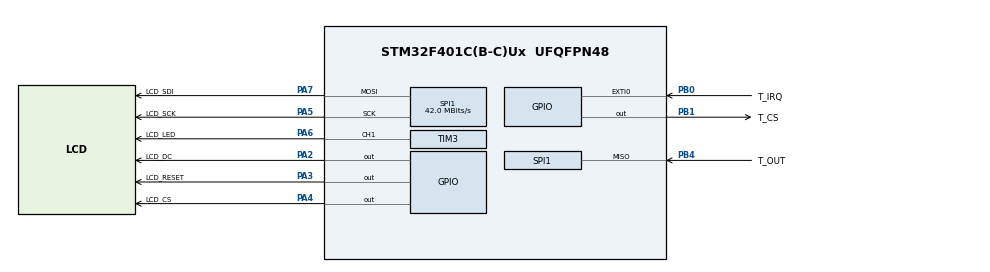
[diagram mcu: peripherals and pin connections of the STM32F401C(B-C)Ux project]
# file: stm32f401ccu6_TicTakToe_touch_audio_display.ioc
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Dma.Request0=SPI1_TX
Dma.SPI1_TX.0.Direction=DMA_MEMORY_TO_PERIPH
Dma.SPI1_TX.0.FIFOMode=DMA_FIFOMODE_DISABLE
Dma.SPI1_TX.0.Instance=DMA2_Stream3
Dma.SPI1_TX.0.MemDataAlignment=DMA_MDATAALIGN_HALFWORD
Dma.SPI1_TX.0.MemInc=DMA_MINC_ENABLE
Dma.SPI1_TX.0.Mode=DMA_NORMAL
Dma.SPI1_TX.0.PeriphDataAlignment=DMA_PDATAALIGN_HALFWORD
Dma.SPI1_TX.0.PeriphInc=DMA_PINC_DISABLE
Dma.SPI1_TX.0.Priority=DMA_PRIORITY_LOW
Mcu.Family=STM32F4
Mcu.Name=STM32F401C(B-C)Ux
Mcu.Package=UFQFPN48
NVIC.DMA2_Stream3_IRQn=true\:3\:0\:true\:false\:true\:false\:true\:true
NVIC.EXTI0_IRQn=true\:4\:0\:true\:false\:true\:true\:true\:true
NVIC.PriorityGroup=NVIC_PRIORITYGROUP_4
PA13.Mode=Serial_Wire
PA13.Signal=SYS_JTMS-SWDIO
PA14.Mode=Serial_Wire
PA14.Signal=SYS_JTCK-SWCLK
PA2.GPIO_Label=LCD_DC
PA2.GPIO_Speed=GPIO_SPEED_FREQ_HIGH
PA2.PinState=GPIO_PIN_SET
PA2.Signal=GPIO_Output
PA3.GPIO_Label=LCD_RESET
PA3.GPIO_Speed=GPIO_SPEED_FREQ_HIGH
PA3.PinState=GPIO_PIN_SET
PA3.Signal=GPIO_Output
PA4.GPIO_Label=LCD_CS
PA4.GPIO_PuPd=GPIO_PULLUP
PA4.GPIO_Speed=GPIO_SPEED_FREQ_HIGH
PA4.PinState=GPIO_PIN_SET
PA4.Signal=GPIO_Output
PA5.GPIO_Label=LCD_SCK
PA5.Mode=Full_Duplex_Master
PA5.Signal=SPI1_SCK
PA6.GPIO_Label=LCD_LED
PA6.Signal=S_TIM3_CH1
PA7.GPIO_Label=LCD_SDI
PA7.Mode=Full_Duplex_Master
PA7.Signal=SPI1_MOSI
PB0.GPIO_Label=T_IRQ
PB0.GPIO_ModeDefaultEXTI=GPIO_MODE_IT_FALLING
PB0.GPIO_PuPd=GPIO_PULLUP
PB0.Signal=GPXTI0
PB1.GPIO_Label=T_CS
PB1.GPIO_PuPd=GPIO_PULLUP
PB1.GPIO_Speed=GPIO_SPEED_FREQ_HIGH
PB1.PinState=GPIO_PIN_SET
PB1.Signal=GPIO_Output
PB4.GPIO_Label=T_OUT
PB4.Mode=Full_Duplex_Master
PB4.Signal=SPI1_MISO
PH0\ -\ OSC_IN.Mode=HSE-External-Oscillator
PH0\ -\ OSC_IN.Signal=RCC_OSC_IN
PH1\ -\ OSC_OUT.Mode=HSE-External-Oscillator
PH1\ -\ OSC_OUT.Signal=RCC_OSC_OUT
ProjectManager.HeapSize=0x200
ProjectManager.StackSize=0x400
ProjectManager.TargetToolchain=STM32CubeIDE
RCC.48MHZClocksFreq_Value=42000000
RCC.AHBFreq_Value=84000000
RCC.APB1CLKDivider=RCC_HCLK_DIV2
RCC.APB1Freq_Value=42000000
RCC.APB1TimFreq_Value=84000000
RCC.APB2Freq_Value=84000000
RCC.APB2TimFreq_Value=84000000
RCC.CortexFreq_Value=84000000
RCC.EnbaleCSS=true
RCC.HCLKFreq_Value=84000000
RCC.HSE_VALUE=25000000
RCC.HSI_VALUE=16000000
RCC.LSE_VALUE=32768
RCC.PLLM=25
RCC.PLLN=168
RCC.PLLSourceVirtual=RCC_PLLSOURCE_HSE
RCC.SYSCLKFreq_VALUE=84000000
RCC.SYSCLKSource=RCC_SYSCLKSOURCE_PLLCLK
RCC.VCOOutputFreq_Value=168000000
SH.S_TIM3_CH1.0=TIM3_CH1,PWM Generation1 CH1
SPI1.BaudRatePrescaler=SPI_BAUDRATEPRESCALER_2
SPI1.CLKPolarity=SPI_POLARITY_LOW
SPI1.CalculateBaudRate=42.0 MBits/s
SPI1.DataSize=SPI_DATASIZE_16BIT
SPI1.Direction=SPI_DIRECTION_2LINES
SPI1.Mode=SPI_MODE_MASTER
SPI1.VirtualType=VM_MASTER
TIM3.Channel-PWM\ Generation1\ CH1=TIM_CHANNEL_1
TIM3.Period=209
TIM3.Prescaler=999
TIM3.Pulse-PWM\ Generation1\ CH1=104
board=custom

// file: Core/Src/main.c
/* USER CODE BEGIN Header */
/*
 * Copyright (C) 2022, VadRov, all right reserved.
 *
 * Демонстрация работы с сенсорным экраном (тачскрином) на контроллере XPT2046 (HR2046 и т.п.),
 * дисплеем на базе контроллера ILI9341 (spi) 320х240, аудио ЦАПом PCM5102
 *
 * --------------------------------------- ДЕМО-ИГРА ------------------------------------------
 *	         		               для stm32f4 (stm32f401ccu6)
 * 		        				        Крестики-нолики
 *
 * С ИИ на основе алгоритма Минимакс (Minimax)
 *
 * С музыкой и звуковыми эффектами (программные декодеры mp3 и wav)
 *
 * Использованы фрагменты музыкальных произведений (на основе лицензии CC BY 3.0)
 * композитора Кевина Маклауда:
 * 					Constance,  (с)2011 Kevin MacLeod
 * 					Delay Rock, (с)2005 Kevin MacLeod
 *
 * https://www.youtube.com/@VadRov
 * https://dzen.ru/vadrov
 * https://vk.com/vadrov
 * https://t.me/vadrov_channel
 *---------------------------------------------------------------------------------------------*/
/* USER CODE END Header */
#include "main.h"

/* USER CODE BEGIN Includes */
#include <string.h>
#include <stdlib.h>
#include <xpt2046.h>  //Драйвер для сенсора на контроллере XPT2046 (HR2046 и т.п.)
#include "ili9341.h"  //Драйвер для дисплея на контроллере ILI9341
#include "pcm5102.h"  //Драйвер аудио ЦАПа pcm5102
#include "display.h"  //Библиотека управления дисплеями по spi
#include "player.h"   //Библиотека для воспроизведения wav и mp3 файлов, хранящихся во флеш памяти микроконтроллера
#include "mus_data.h" //Музыкальные данные игры (музыка и эффекты)
#include "calibrate_touch.h" //Модуль калибровки тачскрина

/* USER CODE END Includes */

/* USER CODE BEGIN PTD */
uint32_t millis = 0;	//Cчетчик миллисекунд
/* USER CODE END PTD */

void SystemClock_Config(void);
static void MX_GPIO_Init(void);
static void MX_DMA_Init(void);
static void MX_SPI1_Init(void);
static void MX_TIM3_Init(void);

/* USER CODE BEGIN 0 */

#define COMPUTER	1	//ID номер ИИ на поле
#define HUMAN		2	//ID номер человека на поле
#define MAXIMIZE	1	//Определение критерия максимизации
#define MINIMIZE	2	//определение критерия минимизации

/*
 * Сканирует игровое поле field размером field_size. Вызывается после хода игрока gamer.
 * В случае победы игрока gamer возвращает 1.
 * В случае ничьей (параметр gamer при этом, естественно, игнорируется) возвращает 2. (При этом
 * подразумевается, что проверка осуществляется сразу после хода игрока gamer, иначе есть шанс "прозевать" победу противника!)
 * Ничья, разумеется, означает, что свободных клеток нет.
 * В ином случае возвращает 0.
 * В переменных row и col возвращает номер строки, колонки либо диагонали, в которых
 * зафиксирован победный ряд:
 * row!=0, а col==0, то в row - номер горизонтального ряда (1...size);
 * row==0, а col!=0, то в col - номер вертикального ряда (1...size);
 * row==1 и col==1 - диагональный ряд, проходящий через левый верхний и правый нижний углы поля;
 * row==2 и col==2 - диагональный ряд, проходящий через левый нижний и правый верхний углы поля;
 * row==0 и col==0 - нет линии
 * В переменной sub_scores возвращает дополнительные очки за заполнение ряда игроком
 * (горизонтального/вертикального/диагонального) из расчета 1 балл за 1 клетку в формирующемся (сформированном) ряду.
 * (используется, в т.ч. при выборе хода в алгоритме Минимакс). При этом, если в ряду есть клетка противника,
 * то баллы не начисляются (0 очков).
 */
static uint8_t ScanField(uint8_t *field, uint8_t size, uint8_t gamer, uint8_t* row, uint8_t* col, uint8_t *sub_scores)
{
	*row = *col = 0;
	uint8_t i, j, flag, flag_d1 = 0, flag_d2 = 0, f = 0;
	int scores, cell_counter;
	int scores_d1 = 1, cell_d1_counter = size;
	int scores_d2 = 1, cell_d2_counter = size;
	*sub_scores = 0;
	//Поиск по строкам, столбцам и диагоналям
	for (i = 0; i < size; i++) {
		//Строки - горизонтальные ряды
		for (j = 0, flag = 0, scores = 1, cell_counter = size; j < size; j++) {
			if (field[i * size + j] != gamer) {
				flag = 1;
				if (!field[i * size + j]) {	cell_counter--;	}
				else { scores = 0; }
			}
		}
		scores *= cell_counter;
		*sub_scores = scores > *sub_scores ? scores : *sub_scores;
		if (!flag) { *row = i + 1; return 1; } //Есть горизонтальный ряд
		//Столбцы - вертикальные ряды
		for (j = 0, flag = 0, scores = 1, cell_counter = size; j < size; j++) {
			if (field[j * size + i] != gamer) {
				flag = 1;
				if (!field[j * size + i]) { cell_counter--; }
				else { scores = 0; }
			}
		}
		scores *= cell_counter;
		*sub_scores = scores > *sub_scores ? scores : *sub_scores;
		if (!flag) { *col = i + 1; return 1; } //Есть вертикальный ряд
		if (field[i * size + i] != gamer) { //Проверка диагонали 1
			flag_d1 = 1;
			if (!field[i * size + i]) { cell_d1_counter--; }
			else { scores_d1 = 0; }
		}
		if (field[(size - 1 - i) * size + i] != gamer) { //Проверка диагонали 2
			flag_d2 = 1;
			if (!field[(size - 1 - i) * size + i]) { cell_d2_counter--; }
			else { scores_d2 = 0; }
		}
		for (j = 0; j < size; j++) { //Проверка на ничью (наличие свободных клеток)
			if (!field[i * size + j]) f = 1;
		}
	}
	scores_d1 *= cell_d1_counter;
	scores_d2 *= cell_d2_counter;
	*sub_scores = scores_d1 > *sub_scores ? scores_d1 : *sub_scores; //Переопределение
	*sub_scores = scores_d2 > *sub_scores ? scores_d2 : *sub_scores; //максимума
	if (!flag_d1) { *col = 1; *row = 1; return 1; } //Есть диагональный ряд 1
	if (!flag_d2) { *col = 2; *row = 2; return 1; } //Есть диагональный ряд 2
	//Ничья (при условии, что проверка осуществляется после хода игрока gamer!)
	if (!f) return 2;
	return 0;
}

/*
 * Градиент (переход цвета)
 */
static uint32_t GradientColor(uint32_t color1, uint32_t color2, uint8_t a)
{
	//Получаем составляющие (r, g, b) цвета color1
	uint8_t r_col1 = (color1 >> 16) & 0xff;
	uint8_t g_col1 = (color1 >> 8) & 0xff;
	uint8_t b_col1 = color1 & 0xff;

	//Получаем составляющие (r, g, b) цвета color2
	uint8_t r_col2 = (color2 >>16) & 0xff;
	uint8_t g_col2 = (color2 >> 8) & 0xff;
	uint8_t b_col2 = color2 & 0xff;

	//"Смешиваем" составляющие (r, g, b) цветов color1 и color2
	r_col1 -= (a * (r_col1 - r_col2)) / 255;
	g_col1 -= (a * (g_col1 - g_col2)) / 255;
	b_col1 -= (a * (b_col1 - b_col2)) / 255;

	//"Собираем" составляющие
	return (((uint32_t)r_col1) << 16) | (((uint32_t)g_col1) << 8) | ((uint32_t)b_col1);
}

/*
 * Вывод масштабированного символа sym в рамке в позиции (x, y), цветом txcolor, цветом окружения bgcolor, цветом рамки brdcolor
 * p1 и p2 - параметры, определяющие габариты символа (ширина = высоте) в виде дроби (для целочисленных вычислений).
 * Например, ширина экрана 240 пикселей, а нам надо вывести символ шириной 60 пикселей, значит: p1 = 240, а p2 = 4
 * Если взглянуть на определение pixel_size и дальнейшее его использование, то станет понятно,
 * почему ширина символа задается дробью.
 */
static void DrawSym(LCD_Handler *lcd, char sym, uint16_t x, uint16_t y, uint32_t txcolor, uint32_t bgcolor, uint32_t brdcolor, int p1, int p2)
{
	#define pixel_size 	p1 / (p2 * f_h)
	uint32_t color, tmp = 0;
	FontDef *font = &Font_12x20; //Шрифт, из которого будем формировать масштабированный символ
	const uint8_t *b = font->data;
	int i, j, k, f_h = font->height;
	int bytes_per_line = ((font->width-1) >> 3) + 1; //Количество байт данных, приходящихся на горизонтальную линию шрифта
	if (bytes_per_line > 4) { //Поддержка ширины символов до 32 пикселей (4 байта на строку)
		return;
	}
	k = 1 << ((bytes_per_line << 3) - 1); //Битовая маска для побитного сканирования горизонтальной линии шрифта
	k <<= (font->height - font->width) / 2; //Выравниваем битовую маску с учетом разницы высоты и ширины шрифта, приводя символ к "квадратному"
	if (!sym) sym = ' ';	//Если ID равен 0, то символ = пробелу (код 32)
	else if (sym == COMPUTER) sym = 'X'; //Если ID компьютера, то символ 'Х'
	else if (sym == HUMAN)    sym = 'O'; //Если ID человека, то символ 'O'
	sym = sym < font->firstcode || sym > font->lastcode ? 0: sym - font->firstcode; //Вычисляем
	b +=  sym * bytes_per_line * f_h;		//начальный адрес символа в блоке данных
	for (i = 0; i < f_h; i++) {	//Цикл по высоте шрифта
		if (bytes_per_line == 1) { tmp = *((uint8_t*)b); }     //Считываем данные строки шрифта
		else if (bytes_per_line == 2) { tmp = *((uint16_t*)b); }
		else if (bytes_per_line == 3) { tmp = (*((uint8_t*)b)) | ((*((uint8_t*)(b + 1))) << 8) |  ((*((uint8_t*)(b + 2))) << 16); }
		else { tmp = *((uint32_t*)b); }
		b += bytes_per_line; //Раccчитываем адрес следующей строки символа
		for (j = 0; j < f_h; j++) { //Цикл по ширине символа (символ "квадратный", т.к. уравниваем его высоту и ширину)
			if (!j || j == (f_h - 1) || !i || i == (f_h - 1)) { //Рамку вокруг символа рисуем для 1 и последней
																//его строки, а также для первой и последней
																//его колонки. Цвет пикселя - brdcolor с градиентным переходом
				color = GradientColor(brdcolor, COLOR_WHITE, 255 * (i * f_h + j) / (f_h * f_h));
			}
			else { //символ на заданном фоне
				color = (tmp << j) & k ? txcolor: bgcolor;	//Если текущий бит данных горизонтальной строки шрифта установлен,
															//то цвет пикселя txcolor, в противном случае цвет bgcolor
			}
			LCD_FillWindow(	lcd,  							//Отрисовываем масштабированный "пиксель"
							x + j * pixel_size,
							y + i * pixel_size,
							x + (j + 1) * pixel_size - 1,
							y + (i + 1) * pixel_size - 1,
							color);
		}
	}
}

/*
 * Вывод на дисплей lcd игрового поля field размером field_size
 */
static void ShowGameField(LCD_Handler *lcd, uint8_t *field, uint8_t field_size)
{
	uint32_t txcolor_x = COLOR_RED; 	//Цвет "крестиков"
	uint32_t txcolor_0 = COLOR_WHITE; 	//Цвет "ноликов"
	uint32_t bgcolor = COLOR_BLUE; 		//Цвет фона клетки
	uint32_t brdcolor = COLOR_YELLOW; 	//Цвет рамки вокруг клетки
	uint32_t txcolor_text = COLOR_WHITE;//Цвет текста (если печатаем символы вместо "крестиков" и "ноликов", для заставки)
	uint32_t txcolor = 0;
	uint16_t x0, y0; //Координаты левого верхнего угла клетки на дисплее
	//Габариты поля берем по ширине либо высоте экрана, в зависимости от того, что меньше
	int size = lcd->Height > lcd->Width ? lcd->Width: lcd->Height;
	int i, j;
	uint8_t sym;
	for (i = 0; i < field_size; i++) { 		//Цикл по количеству рядов клеток
		y0 = i * size/field_size;			//Координата Y верхнего левого угла клетки на дисплее
		for (j = 0; j < field_size; j++)  {	//Цикл по количеству столбцов клеток
			x0 = j * size/field_size;		//Координата X верхнего левого угла клетки на дисплее
			sym = field[i * field_size + j]; //ID - содержимое клетки
			if (sym == COMPUTER)   { txcolor = txcolor_x; } //Если ID компьютера, то символ 'Х'
			else if (sym == HUMAN) { txcolor = txcolor_0; } //Если ID человека, то символ 'O'
			else { txcolor = txcolor_text; } //Иначе, имеем дело с текстом и код символа не меняем
			DrawSym(lcd, sym, x0, y0, txcolor, bgcolor, brdcolor, size, field_size); //Выводим символ на дисплей
		}
	}
}

/* Cтруктура, описывающая ход и его результативность */
typedef struct {
	uint8_t i, j;			//Индексы клетки на игровом поле куда сделан шаг
	int score;				//Очки шага (результативность хода)
	uint8_t sub_score;		//Дополнительные очки шага (учитываются в случае равенства очков за основные шаги)
} GAME_STEP;

/*
 * Игровая логика. Выбор хода ИИ
 * Возвращает очки выбранного хода. В переменных row и col - позицию (строка, столбец) выбранного хода.
 * На входе: игровое поле field и его размер field_size, ID игрока gamer, критерий алгоритма Минимакс maxmin,
 * указатели на переменные row и col, в которых возвратятся индексы выбранной для хода клетки,
 * а также текущая глубина рекурсии depth
 */
static int GameLogic(uint8_t *field, uint8_t field_size, uint8_t gamer, uint8_t maxmin, uint8_t *row, uint8_t *col, uint8_t depth)
{
	if (!depth) return 0; //Если достигнут предел глубины рекурсии, то выходим, возвратив 0 очков за ход
	int score, sub_score;
	uint8_t row1, col1, i, j, res, k = 0;
	for (int m = 0; m < field_size * field_size; m++) {
		if (!field[m]) k++;
	}
	if (!k) { 					  //Нет свободных ячеек: некуда ходить -> ничья
		*row = *col = field_size; //Возвращаем заведомо некорректные индексы клетки для хода
		return 0;
	}
	GAME_STEP logic_mas[k]; //Массив игровых ходов для текущего игрового поля
	//Для каждой свободной клетки игрового поля создадим игровую ситуацию GAME_STEP, которая будет содержать
	//параметры хода (индексы клетки) игрока gamer, основные и дополнительные очки за ход (результативность хода).
	for (i = 0, k = 0; i < field_size; i++)	{ //цикл по количеству строк в игровом поле
		for (j = 0; j < field_size; j++) {	  //Цикл по количеству столбцов в игровом поле
			if (!field[i * field_size + j]) { //Если клетка в позиции [i, j] игрового поля свободна:
				field[i * field_size + j] = gamer;		//делаем ход (записываем переменную gamer) в клетку
				logic_mas[k].i = i;						//и запоминаем номера строки
				logic_mas[k].j = j;						//и столбца хода
				logic_mas[k].score = logic_mas[k].sub_score = 0; //Инициализируем очки хода
				row1 = col1 = 0;
				//Сканируем игровое поле k-той игровой ситуации, оценивая результативность предполагаемого хода
				res = ScanField(field, field_size, gamer, &row1, &col1, &logic_mas[k].sub_score);
				if (res) {				//Шаг привел к победе или ничьей?
					if (res == 1) {   	//Победа
						logic_mas[k].score = (maxmin == MAXIMIZE) ? 1 : -1; //очки за победу
					}
					else {				//Ничья
						logic_mas[k].score = (maxmin == MAXIMIZE) ? 0 : 0;	//очки за ничью
					}
				}
				else { //Если ход не привел ни к победе, ни к ничьей, то анализируем все возможные ответные ходы противника
					   //на ход игрока gamer. Осуществим, т.н., рекурсивный вызов функции по отношению к противнику.
					   //Проанализируем все возможные ответные ходы противника на наш ход, но критерий алгоритма Минимакс
					   //изменяем на противоположный, а саму функцию вызываем для противника gamer.
					logic_mas[k].score = GameLogic(field, field_size, (gamer == HUMAN)? COMPUTER: HUMAN, (maxmin == MAXIMIZE)? MINIMIZE : MAXIMIZE, row, col, depth - 1);
				}
				field[i * field_size + j] = 0; //Восстанавливаем игровое поле в состояние "до хода"
				k++; //Увеличиваем счетчик шагов
			}
		}
	}
	//Сравниваем очки итогов игровых ситуаций с учетом критерия maxmin.
	//Выбираем из всех ходов оптимальный с позиций оценки.
	i = j = 0; //Инициализация индекса игрового хода
	score = logic_mas[0].score; //Инициализация экстремума (min/max) очков за ход
	sub_score = logic_mas[0].sub_score; //Инициализация max дополнительных очков за ход
	while (k--) {
		if (maxmin == MAXIMIZE) { //Критерий алгоритма Минимакс - > максимизация шансов на победу игрока
			if (score <= logic_mas[i].score) {//Максимум меньше или равен очкам текущего хода?
				if (score < logic_mas[i].score) { score = logic_mas[i].score; j = i; } //Если меньше, то переназначаем максимум и запоминаем ход
				else { //Если равен, то сравниваем дополнительные очки хода и выбираем тот ход, у которого дополнительные очки больше
					if (sub_score < logic_mas[i].sub_score) { sub_score = logic_mas[i].sub_score; j = i; }
				}
			}
		}
		else { //Критерий алгоритма Минимакс -> минимизация шансов победы противника
			if (score >= logic_mas[i].score) {//Текущий минимум больше или равен?
				if (score > logic_mas[i].score) { score = logic_mas[i].score; j = i; } //Если меньше, то переназначаем минимум и запоминаем ход
				else { //Если равен, то сравниваем дополнительные очки хода и выбираем тот ход, у которого дополнительные очки больше
					if (sub_score < logic_mas[i].sub_score) { sub_score = logic_mas[i].sub_score; j = i; }
				}
			}
		}
		i++;	//Переходим к следующему игровому шагу
	}	//Индексы клетки для лучшего хода с учетом результативности:
	*row = logic_mas[j].i;	//строка
	*col = logic_mas[j].j;	//столбец
	return score; 			//Возвращаем очки хода
}

/*
 * Выводит победный ряд игрового поля field размером field_size на дисплей lcd
 * i_start, j_start - индексы стартовой клетки победного ряда
 * i_step, j_step - приращения индексов для каждого последующего шага из field_size шагов (длина ряда всегда = field_size)
 */
static void DrawVictoryLine(LCD_Handler *lcd, uint8_t *field, uint8_t field_size, int i_start, int j_start, int i_step, int j_step)
{
	uint32_t txcolor = 0x1E90FF; //Цвет символов X и O
	uint32_t bgcolor = 0xFF1493; //Цвет фона
	uint32_t brdcolor = 0xCD853F;//Цвет рамки вокруг символов
	int x, y;
	char sym;
	int size = lcd->Height > lcd->Width ? lcd->Width: lcd->Height; //Ширина поля вывода в пикселях
	for (int i = 0; i < field_size; i++) { //Цикл по длине ряда
		x = j_start * size/field_size; //Преобразование индексов поля
		y = i_start * size/field_size; //в координаты дисплея
		sym = field[i_start * field_size + j_start];
		DrawSym(lcd, sym, x, y, txcolor, bgcolor, brdcolor, size, field_size); //Вывод символа на игровое поле
		i_start += i_step; //Расчет индексов следующей клетки победного ряда
		j_start += j_step; //с учетом приращения индексов для шага
	}
}

/*
 * Ищет вариант для случайного хода. В row и col возвращает индексы клетки игрового поля для хода
 * Если свободных клеток нет, то возвращает в row и col значение field_size - размер поля,
 * т.е. недопустимые индексы для хода
 */
static void RandMove(uint8_t *field, uint8_t field_size, uint8_t *row, uint8_t *col)
{
	int i, j;
	//Проверка возможности хода
	for (i = 0, j = 0; i < field_size * field_size; i++) { //Перебираем клетки поля
		if (!field[i]) { j = 1; break; } //Свободная клетка? Да, выставляем флаг и выходим из цикла
	}
	if (j == 0) { //Некуда ходить ?
		*row = *col = field_size; //Ходить некуда. Устанавливаем недопустимые индексы клетки и выходим
		return;
	}
	while (1) { //Крутим цикл до тех пор, пока не найдем вариант для хода:
		*row = (uint8_t)rand();
		*col = (uint8_t)rand();
		if (*row < field_size && *col < field_size) { //Индексы row и col должны быть в пределах размеров поля,
			if (!field[*row * field_size + *col]) return; //а клетка должна быть свободной
		}
	}
}

/*
 * "Растворяет" изображение на дисплее lcd
 * var - определяет вариант "растворения":
 * 0 - "растворяет" изображение "попиксельно" в случайном порядке пикселей;
 * !=0 - на первом шаге изображение стирается через строку, а на втором шаге через столбец.
 * color - "растворяющий" цвет
 */
static void ScreenDissolve(LCD_Handler *lcd, uint8_t var, uint32_t color)
{
	uint16_t x, y;
	if (!var) { //Первый вариант - попиксельно в случайном порядке
		for (int i = 0; i < lcd->Width * lcd->Height; i++ ) { //Цикл по количеству пикселей на дисплее
			x = lcd->Width;
			y = lcd->Height;
			while (x >= lcd->Width) { //Получаем случайную координату x
				x = lcd->Width * ((uint16_t)rand()) / 65535;
			}
			while (y >= lcd->Height) { //Получаем случайную координату y
				y = lcd->Height * ((uint16_t)rand()) / 65535;
			}
			LCD_FillWindow(lcd, x, y, x + 1, y + 1, color); //Рисуем "увеличенный" (2x2) пиксель заданным стирающим цветом color
		}
	}
	else { //Второй вариант - по линиям через строку и через столбец
		for (y = 0; y < lcd->Height; y += 2) { //Цикл по числу строк, с шагом через строку
			LCD_DrawLine(lcd, 0, y, lcd->Width - 1, y, color); //Рисуем горизонтальную линию
			LL_mDelay(1);	//Задержка в 1 мс
		}
		for (x = 0; x < lcd->Width; x += 2) { //Цикл по числу столбцов, с шагом через столбец
			LCD_DrawLine(lcd, x, 0, x, lcd->Height - 1, color); //Рисуем вертикальную линию
			LL_mDelay(1); //Задержка в 1 мс
		}
	}
	LCD_Fill(lcd, color); //Окончательно очищаем экран
}

/*
 * Структура с информацией о строках поля, которые необходимо выделить
 */
typedef struct {
	uint8_t *row_num; //Указатель на массив с номерами строк
	uint8_t all_rows; //Количество строк в массиве
} Menu_Row_Sel;

/*
 * Работа с меню
 * lcd - указатель на обработчик дисплея
 * t - указатель на обработчик тачскрина
 * field - указатель на поле
 * field_size - размерность поля
 * Пункты меню задаются интервалом строк игрового поля:
 * row_0 - стартовый номер строки поля - первый пункт меню (параметр "от")
 * row_1 - кочечный номер строки поля - последний пункт меню (параметр "до")
 * sel - указатель на структуру с информацией о строках поля, подлежащих выделению
 * Возвращает порядковый номер выбранного пункта меню (от 0)
 *
 * В передаваемом поле field заданной размерности field_size содержится построчно информация о меню (наименование,
 * прилашение к действию) и сами пункты меню. Пункты меню в поле задаются номерами строк от row_0 до row_1.
 * Строки поля, которые необходимо выделить задаются структурой sel, содержащей массив строк для выделения
 * и их (строк) количество. Обычно выделяют строки с наименованием меню (например, "Сложность игры")
 * и приглашением к действию (например, "выбирай")
 */
static int SelectMenu(LCD_Handler *lcd, XPT2046_Handler *t, uint8_t *field, uint8_t field_size, int row_0, int row_1, Menu_Row_Sel *sel)
{
	ShowGameField(lcd, field, field_size); //Отображение меню выбора размера игрового поля
	int i = sel->all_rows;
	while (i) { //Выделяем требуемые строки
		DrawVictoryLine(lcd, field, field_size, sel->row_num[sel->all_rows - i], 0, 0, 1);
		i--;
	}
	int size = lcd->Height > lcd->Width ? lcd->Width: lcd->Height; //Размер игрового поля в пикселях
	while(1) { //Ожидание касания тачскрина и обработка результатов
		uint32_t tick = millis, k_tick = 1; //Инициализация счетчика миллисекунд и коэффициента интервала ожидания
		while (!t->click) {  //Ждем касания тачскрина
			if (millis - tick >= k_tick * 10000) {  //Звуковое оповещение игрока первый раз через 10 секунд, а затем с интервалом
				tick = millis;						//через 20, 30, 40 ... 120 секунд игрока о том, что сейчас его ход.
				k_tick++;
				if (k_tick > 12) k_tick = 1;		//Пересчет коэффициента интервала ожидания k_tick
				(void)PlayerAdd(&WAV_you_move, 0); 	//Звуковое сообщение "Твой ход"
			}
			__NOP();
		}
		while (t->click) {					//До тех пор, пока есть касание
			if (!t->fl_interrupt) {			//Если обновление координат тачскрина в прерывании запрещено,
				(void)XPT2046_GetTouch(t);	//то считывает здесь координаты тачскрина
			}
			__NOP();
		}
		if (t->last_click_time > 3) { //Исключаем случайные/короткие касания тача, ограничивая длительность клика
			int i;
			tPoint pos;
			XPT2046_ConvertPoint(&pos, &t->point, &t->coef); //Конвертируем координаты тачскрина в дисплейные
			i = pos.y / (size / 8); //Рассчитываем номер строки по координате y дисплея
			if (i >= row_0 && i <= row_1) {
				(void)PlayerAdd(&WAV_drum, 0); //Звук хода
				DrawVictoryLine(lcd, field, field_size, i, 0, 0, 1); //Выделяем текст выбранной строки
				LL_mDelay(500); //Пауза 0.5 сек.
				return i - row_0;
			}
		}
	}
}

/*
 * Меню выбора размерности игрового поля
 * Возвращает выбранную размерность игрового поля
 */
static int SelectFieldSize (LCD_Handler *lcd, XPT2046_Handler *t)
{
	//Игровое поле 8x8, на котором изображено меню игры. Коды символов в поле представлены в кодировке cp1251
	const uint8_t field[8*8] = { 0, 208, 224, 231, 236, 229, 240, 0,	// Размер
								 0, 0, 239, 238, 235, 255, 0, 0,		//  поля
								 0, 0, '3', 'x', '3', 0, 0, 0,			//  3x3
								 0, 0, '4', 'x', '4', 0, 0, 0,			//  4x4
								 0, 0, '5', 'x', '5', 0, 0, 0,			//  5x5
								 0, 0, '6', 'x', '6', 0, 0, 0,			//  6x6
								 0, 0, '7', 'x', '7', 0, 0, 0,			//  7x7
								 0, 226, 251, 225, 229, 240, 232, 0 }; // выбери

	uint8_t rows[] = {0, 1, 7}; //Порядковые номера строк поля, которые необходимо выделить
	Menu_Row_Sel sel = { .row_num = rows,
						 .all_rows = 3    };

	return SelectMenu(lcd, t, (uint8_t*)field, 8, 2, 6, &sel) + 3; //Вызываем процедуру работы с меню
}

/*
 * Меню выбора сложности игры
 * Возвращает глубину рекурсии для алгоритма минимакс в зависимости от размера поля field_size
 * и выбранного уровня сложности
 */
static int SelectDifficulty (LCD_Handler *lcd, XPT2046_Handler *t, uint8_t field_size)
{
	//Игровое поле 9x9, на котором изображено меню игры. Коды символов в поле представлены в кодировке cp1251
	const uint8_t field[9*9] = { 209, 235, 238, 230, 237, 238, 241, 242, 252,	//Сложность
								 0, 0, 232, 227, 240, 251, 0, 0, 0,				//  игры
								 0, 0, 0, 0, 0, 0, 0, 0, 0,						//
								 0, 0, 235, 229, 227, 234, 238, 0, 0,			//  легко
								 0, 0, 241, 240, 229, 228, 237, 229, 0,			//  средне
								 0, 0, 241, 235, 238, 230, 237, 238, 0,			//  сложно
								 0, 0, 0, 0, 0, 0, 0, 0, 0,						//
								 0, 0, 0, 0, 0, 0, 0, 0, 0, 					//
								 0, 226, 251, 225, 232, 240, 224, 233, 0 };  	// выбирай

	uint8_t rows[] = {0, 1, 8}; //Порядковые номера строк поля, которые необходимо выделить
	Menu_Row_Sel sel = { .row_num = rows,
						 .all_rows = 3    };

	int dfclt = SelectMenu(lcd, t, (uint8_t*)field, 9, 3, 5, &sel); //Вызываем процедуру работы с меню
	if (!dfclt) return 2; //Уровень сложности "Легко"
	if (dfclt == 1) { 	  //Уровень сложности "Средне"
		if (field_size == 3) return 4;
		return 2;
	}
	//Уровень сложности "Сложно"
	if (field_size == 3) return 6;
	return 4;
}

/*
 * Демка крестики-нолики
 */
void TicTacToe_DemoGame(LCD_Handler *lcd, XPT2046_Handler *t)
{
	uint32_t COLOR_DEFINE = COLOR_YELLOW; //Цвет по умолчанию
	//Игровое поле 8x8, на котором изображена заставка игры. Коды символов в поле представлены в кодировке cp1251
	//(а файлы этого проекта в кодировке UTF-8).
	const uint8_t field_demo[8*8] = { 0, 0, 0, 0, 0, 0, 0, 0,
									  0, 0, 200, 227, 240, 224, 0, 0, 			//  Игра
									  0, 0, 0, 0, 0, 0, 0, 0,
									  202, 208, 197, 209, 210, 200, 202, 200, 	//КРЕСТИКИ
									  0, 205, 206, 203, 200, 202, 200, 0,  		// НОЛИКИ
									  0, 0, 0, 0, 0, 0, 0, 0,
									  0, 0, 0, 0, 0, 0, 0, 0,
									  0, 'V', 'a', 'd', 'R','o', 'v', 0,	};	// VadRov
	uint8_t row, col, row1, col1, sub_score;
	//----------------------------- Строки с игровой информацией ----------------------------------
	const char str0[] = "Tic-Tac-Toe  (c)2022 VadRov"; 	//Название игры и кто запрограммировал
	const char str1[] = "Round: ";					 	//Раунд, количество сыгранных игр и т.п.
	const char str2[] = "You:";						 	//Имя человека-игрока, противника ИИ "Ты"
	const char str3[] = " Stm:";					    //Имя ИИ, противника человека " Stm", с пробелом в первом символе для "склейки"
	const char str_humanwin[] = " You Win! ";			//Надпись: "Ты выиграл!"
	const char str_computerwin[] = " STM32F4 Win! ";	//Надпись: "STM32F4 выиграл!"
	const char str_nowin[] = " No Winner! ";			//Надпись: "Нет победителя!", т.е. ничья
	const char str_music[] = "Music: Kevin MacLeod"; 	//Автор музыки
	const char str_music_lic[] = "license CC BY 3.0";	//Лицензия на использование музыки
	char str_buf[50]; //Временный буфер для "склейки" текстовых строк
	char *str_winner = (char*)str_nowin;	//Указатель для информационных текстовых строк
	int size = lcd->Height > lcd->Width ? lcd->Width: lcd->Height; //Размер игрового поля в пикселях
	tPoint pos; //Координаты тачскрина, приведенные к дисплейным координатам
	int i, j;
	t->fl_interrupt = 1;	//Разрещаем обновление координат тачскрина в прерывании
	uint32_t score_human = 0, score_comp = 0, all_games = 0; 	//Инициализация очков и количества сыгранных игр
	uint8_t random_move; //Счетчик случайных шагов
	for (i = 0; i < millis; i++) {	//Инициализация генератора случайных чисел
		(void)rand();				//millis - системное время в миллисекундах,
	}								//отчитывамое с момента старта микроконтроллера
	uint8_t fl_new_game; //флаг "новая игра"
	uint8_t field_size, max_depth;
	uint8_t *field = 0; //Игровое поле
Game_option:
	PlayerDelAll(); //Останавливаем воспроизведение всех плееров и удаляем их
	LCD_Fill(lcd, COLOR_DEFINE); //Заливаем дисплей цветом по умолчанию
	(void)PlayerAdd(&Mp3_intro, -1); //Включаем воспроизведение интро
	ShowGameField(lcd, (uint8_t*)field_demo, 8); //Отображение заставки (игровое поле 8x8 с надписями)
	LCD_WriteString(lcd, 		//Отображение строки с автором музыки
					(size - Font_12x20.width * strlen(str_music)) / 2,
					size + 22,
					str_music,
					&Font_12x20,
					COLOR_RED,
					COLOR_DEFINE,
					LCD_SYMBOL_PRINT_FAST);
	LCD_WriteString(lcd, 		//Отображение строки с лицензией на использование музыки
					(size - Font_8x13.width * strlen(str_music_lic)) / 2,
					size + 43,
					str_music_lic,
					&Font_8x13,
					COLOR_BLUE,
					COLOR_DEFINE,
					LCD_SYMBOL_PRINT_FAST);
	LL_mDelay(5000); //Задержка 5 секунд
	DrawVictoryLine(lcd, (uint8_t*)field_demo, 8, 3, 0, 0, 1); //Выделяем
	DrawVictoryLine(lcd, (uint8_t*)field_demo, 8, 4, 0, 0, 1); //название игры
	LL_mDelay(2000); //Задержка 2 секунды
	field_size = (uint8_t)SelectFieldSize(lcd, t); //Выбор размера игрового поля
	max_depth = (uint8_t)SelectDifficulty(lcd, t, field_size); //Выбор сложности игры
	if (field) free(field);
	field = (uint8_t*)malloc(field_size * field_size);
	while (1) {
		PlayerDelAll(); //Останавливаем и удаляем все плееры
		(void)PlayerAdd(&Mp3_tema, -1); //Включаем воспроизведение музыкальной темы игры
		ScreenDissolve(lcd, 0, COLOR_DEFINE); //"Растворяем" экран
		all_games++; //Инкремент количества сыгранных игр
		fl_new_game = 0; //Сбрасываем флаг "новая игра"
		memset(field, 0, field_size * field_size); //Инициализация игрового поля
		ShowGameField(lcd, field, field_size); //Вывод на дисплей игрового поля
		//Вывод названия игры, номера раунда и количества очков игроков
		strcpy(str_buf, str1);							//Склеиваем строку с номером раунда игры
		utoa(all_games, &str_buf[strlen(str1)], 10);	//и выводим информацию на дисплей
		LCD_WriteString(lcd,
						(size - Font_12x20.width * strlen(str_buf)) / 2,
						size + 2,
						str_buf,
						&Font_12x20,
						COLOR_RED,
						COLOR_DEFINE,
						LCD_SYMBOL_PRINT_FAST);
		LCD_WriteString(lcd,	//Выводим "иконку" для выхода в меню опций игры
						0,
						size + 2,
						"MENU",
						&Font_12x20,
						COLOR_DEFINE,
						COLOR_RED,
						LCD_SYMBOL_PRINT_FAST);
		strcpy(str_buf, str2);								//Склеиваем строку с информацией
		utoa(score_human, &str_buf[strlen(str_buf)], 10);	//об очках игроков, заработанных в игре
		strcat(str_buf, str3);								//и выводим информацию на дисплей
		utoa(score_comp, &str_buf[strlen(str_buf)], 10);
		LCD_WriteString(lcd,
						(size - Font_12x20.width * strlen(str_buf)) / 2,
						size + 22,
						str_buf,
						&Font_12x20,
						COLOR_BLACK,
						COLOR_DEFINE,
						LCD_SYMBOL_PRINT_FAST);
		LCD_WriteString(lcd, 		//Выводим информацию о названии игры и кто ее запрограммировал
						(size - Font_8x13.width * strlen(str0)) / 2,
						size + 42,
						str0,
						&Font_8x13,
						COLOR_BLUE,
						COLOR_DEFINE,
						LCD_SYMBOL_PRINT_FAST);
		LCD_WriteString(lcd,		//Вывод строки с автором музыки
						(size - Font_8x13.width * strlen(str_music)) / 2,
						size + 55,
						str_music,
						&Font_8x13,
						COLOR_BLUE,
						COLOR_DEFINE,
						LCD_SYMBOL_PRINT_FAST);
		random_move = 1; //Инициализация счетчика случайных ходов ИИ
		while (!fl_new_game)  {	//Крутимся в цикле пока не установится флаг fl_new_game (новая игра)
			/*----------------------------------- ХОД искусственного интеллекта --------------------------------*/
			row = col = row1 = col1 = sub_score = 0;
			if(random_move) { //Случайный ход ИИ ("на дурака", "пальцем в небо" и т.п.), если в счетчике не 0
				RandMove(field, field_size, &row, &col); //Получаем позицию клетки для случайного хода
				random_move--; //Уменьшаем счетчик случайных шагов
			}
			else { //"Обдуманный" ход ИИ с применением алгоритма минимакс
				GameLogic(field, field_size, COMPUTER, MAXIMIZE, &row, &col, max_depth);
			}
			if (row != field_size && col != field_size) { //Если ход возможен (есть свободные клетки),
				if (!field[row * field_size + col]) {	  //то записываем в клетку поля ID ИИ
					field[row * field_size + col] = COMPUTER; //и перересовываем игровое поле
					(void)PlayerAdd(&WAV_drum, 0); //Звук хода
					for (uint16_t a = 0; a <= 255; a += 3) { //Всплывающий X
						DrawSym(lcd,
								COMPUTER,
								col * size / field_size,
								row * size / field_size,
								GradientColor(COLOR_WHITE, COLOR_RED, (uint8_t)a),
								COLOR_BLUE,
								COLOR_YELLOW,
								size,
								field_size);
					}
				}
			}
			else { //Если же все клетки заняты, т.е. возможности хода нет:
				str_winner = (char*)str_nowin; //Присваиваем "информационному указателю" адрес строки с текстом "ничья"
				fl_new_game = 1; //Устанавливаем флаг "новая игра"
				score_comp += 5; //Начисляем игрокам по 5 балллов за ничью
				score_human += 5;
			}
			if (!fl_new_game) { //При сброшенном флаге "новая игра" проверяем есть ли победа или ничья после хода ИИ
				uint8_t f = ScanField(field, field_size, COMPUTER, &row1, &col1, &sub_score); //f = 1 - победа ИИ, f = 2 - ничья
				if (f) { //После хода ИИ есть либо победа, либо ничья
					fl_new_game = 1; //Устанавливаем флаг "новая игра"
					if (f == 1) { //ИИ победил
						str_winner = (char*)str_computerwin; //Присваиваем "информационному указателю" адрес строки с именем победителя
						score_comp += 10; //Начисляем очки игроку за "победу"
					}
					else { //Ничья (нет свободных клеток после хода ИИ и нет победного ряда)
						str_winner = (char*)str_nowin; //Присваиваем "информационному указателю" адрес строки с надписью "ничья"
						score_comp += 5; //начисляем очки игрокам за ничью
						score_human += 5;
					}
				}
			}
			/*----------------------------------------- ХОД человека ---------------------------------------*/
			while(!fl_new_game) { //При сброшенном флаге "новая игра" крутимся в цикле и опрашиваем тач
				uint32_t tick = millis, k_tick = 1;
				while (!t->click) {  		//Ждем касания тачскрина
					if (millis - tick >= k_tick * 10000) {  //Звуковое оповещение игрока первый раз через 10 секунд, а затем с интервалом
						tick = millis;						//через 20, 30, 40 ... 120 секунд о том, что сейчас его ход.
						k_tick++;							//Пересчет коэффициента
						if (k_tick > 12) k_tick = 1;		//интервала ожидания k_tick
						(void)PlayerAdd(&WAV_you_move, 0);	//Звуковое сообщение "Твой ход"
					}
					__NOP();
				}
				while (t->click) {					//До тех пор, пока есть касание тачскриина
					if (!t->fl_interrupt) {			//Если обновление координат тачскрина в прерывании запрещено,
						(void)XPT2046_GetTouch(t);	//то считывает здесь координаты тачскрина
					}
					__NOP();
				}
				if (t->last_click_time > 3) { //Исключаем случайные/короткие касания тача, ограничивая длительность клика
					XPT2046_ConvertPoint(&pos, &t->point, &t->coef); //Конвертируем координаты тачскрина в дисплейные
					if (pos.x >= 0 && pos.x <= 47 &&								  //Если был клик по "иконке" "MENU",
						pos.y >= size + 2 && pos.y <= size + 2 + 19) {				  //то переходим в меню опций игры
						goto Game_option;
					}
					i = pos.y / (size / field_size); //Рассчитываем по координатам дисплея
					j = pos.x / (size / field_size); //индексы клетки игрового поля
					//Индексы сравниваем с размером поля и проверяем, свободна ли выбранная клетка игрового поля
					if (i >= 0 && i < field_size && j >= 0 && j < field_size ) {//Если индексы "правильные",
						if (!field[i * field_size + j])  {     					//а клетка свободна, то
							field[i * field_size + j] = HUMAN; 					//записываем в ячейку поля ID человека и прерываем цикл опроса тача
							(void)PlayerAdd(&WAV_drum, 0); //Звук хода
							for (uint16_t a = 0; a <= 255; a += 3) { //Всплывающий O
								DrawSym(lcd,
										HUMAN,
										j * size / field_size,
										i * size / field_size,
										GradientColor(COLOR_LIGHTGREY, COLOR_WHITE, (uint8_t)a),
										COLOR_BLUE,
										COLOR_YELLOW,
										size,
										field_size);
							}
							break;
						}
					}
				}
			}
			if (!fl_new_game) { //При сброшенном флаге "новая игра"
				//Проверяем, есть ли победа человека после хода.
				if (ScanField(field, field_size, HUMAN, &row1, &col1, &sub_score) == 1) { //Если есть:
					str_winner = (char*)str_humanwin; //Присваиваем "информационному указателю" адрес строки с именем победителя
					fl_new_game = 1; //Устанавливаем флаг "новая игра"
					score_human += 10; //Начисляем очки игроку за "победу"
				}
			}

			/*--------------------------------------------- Оформление итогов раунда -----------------------------------------*/
			if (fl_new_game) {//При установленном флаге "новая игра" в случае победы ИИ или человека:
				PlayerDelAll(); //Останавливаем воспроизведение всех плееров и удаляем их
				(void)PlayerAdd(&Mp3_final, 0); //Включаем воспроизведение финальной композиции
				//Выделяем победный ряд:
				if (row1 && col1) { //по диагоналям \/
					if (row1 == 1 && col1 == 1) { DrawVictoryLine(lcd, field, field_size, 0, 0, 1, 1); }
					else { DrawVictoryLine(lcd, field, field_size, field_size - 1, 0, -1, 1); }
				}
				else if (row1) { //по строкам -
					DrawVictoryLine(lcd, field, field_size, row1 - 1, 0, 0, 1); }
				else if (col1){ //по столбцам |
					DrawVictoryLine(lcd, field, field_size, 0, col1 - 1, 1, 0);	}
					LCD_WriteString(lcd, //Вывод имени победителя или надписи "ничья" (в зависимости от исхода раунда)
									(size - strlen(str_winner) * Font_12x20.width)/2,
									size/2 - Font_12x20.height/2,
									str_winner,
									&Font_12x20,
									COLOR_YELLOW,
									COLOR_BLUE,
									LCD_SYMBOL_PRINT_FAST);
				LL_mDelay(8200); //Задержка в 8.2 секунды перед началом новой игры
			}
		}
	}
}

//Возвращает максимальный размер памяти, который может быть выделен 1 блоком
#define max_allocate_one_block	50000
static uint32_t max_memory()
{
	uint32_t i = max_allocate_one_block;
	uint8_t *mem = 0;
	while (i)
	{
		mem = (uint8_t*)calloc(i, sizeof(uint8_t));
		if (mem)
		{
			free(mem);
			*((uint32_t*)(mem - 4)) = 0;
			mem = 0;
			return i;
		}
		i--;
	}
	return 0;
}

/* USER CODE END 0 */

int main(void)
{
  /* USER CODE BEGIN 1 */
/* включаем кэширование инструкций */
#if (INSTRUCTION_CACHE_ENABLE != 0U)
	((FLASH_TypeDef *) ((0x40000000UL + 0x00020000UL) + 0x3C00UL))->ACR |= (0x1UL << (9U));
#endif

/* включаем кэширование данных */
#if (DATA_CACHE_ENABLE != 0U)
	((FLASH_TypeDef *) ((0x40000000UL + 0x00020000UL) + 0x3C00UL))->ACR |= (0x1UL << (10U));
#endif

/* включаем систему предварительной выборки инструкций*/
#if (PREFETCH_ENABLE != 0U)
	((FLASH_TypeDef *) ((0x40000000UL + 0x00020000UL) + 0x3C00UL))->ACR |= (0x1UL << (8U));
#endif
  /* USER CODE END 1 */

  /* MCU Configuration--------------------------------------------------------*/

  /* Reset of all peripherals, Initializes the Flash interface and the Systick. */
  LL_APB2_GRP1_EnableClock(LL_APB2_GRP1_PERIPH_SYSCFG);
  LL_APB1_GRP1_EnableClock(LL_APB1_GRP1_PERIPH_PWR);

  /* System interrupt init*/
  NVIC_SetPriorityGrouping(NVIC_PRIORITYGROUP_4);

  /* SysTick_IRQn interrupt configuration */
  NVIC_SetPriority(SysTick_IRQn, NVIC_EncodePriority(NVIC_GetPriorityGrouping(),15, 0));

  /* Configure the system clock */
  SystemClock_Config();

  /* USER CODE BEGIN SysInit */
  //настраиваем системный таймер (прерывания 1000 раз в секунду, т.е. с периодом 1 мс)
  SysTick_Config(SystemCoreClock/1000);
  /* USER CODE END SysInit */

  /* Initialize all configured peripherals */
  MX_GPIO_Init();
  MX_DMA_Init();
  MX_SPI1_Init();
  MX_TIM3_Init();
  /* USER CODE BEGIN 2 */

  /* -------------------------------------- Настройка дисплея ------------------------------------------*/
  //Данные DMA
  LCD_DMA_TypeDef dma_tx = { .dma    = DMA2,				//Контроллер DMA
    		  	  	  	  	 .stream = LL_DMA_STREAM_3 };	//Поток контроллера  DMA

  //Данные для подсветки
  LCD_BackLight_data bkl_data = { .htim_bk 		   = TIM3,				 //Таймер - для подсветки с PWM (изменение яркости подсветки)
    		  	  	  	  	  	  .channel_htim_bk = LL_TIM_CHANNEL_CH1, //Канал таймера - для подсветки с PWM (изменение яркости подсветки)
								  .blk_port 	   = 0,					 //Порт gpio - подсветка по типу вкл./выкл.
								  .blk_pin 		   = 0,					 //Вывод порта - подсветка по типу вкл./выкл.
								  .bk_percent	   = 60  };				 //Яркость подсветки в %

  //Данные подключения
  LCD_SPI_Connected_data spi_con = { .spi 		 = SPI1,				//Используемый spi
    		  	  	  	  	  	  	 .dma_tx 	 = dma_tx,				//Данные DMA
									 .reset_port = LCD_RESET_GPIO_Port,	//Порт вывода RES
									 .reset_pin  = LCD_RESET_Pin,		//Пин вывода RES
									 .dc_port 	 = LCD_DC_GPIO_Port,	//Порт вывода DC
									 .dc_pin 	 = LCD_DC_Pin,			//Пин вывода DC
									 .cs_port	 = LCD_CS_GPIO_Port,	//Порт вывода CS
									 .cs_pin	 = LCD_CS_Pin         };//Пин вывода CS

#ifndef  LCD_DYNAMIC_MEM
  LCD_Handler lcd1;
#endif
   //Создаем обработчик дисплея на контроллере ILI9341
   LCD = LCD_DisplayAdd( LCD,
#ifndef  LCD_DYNAMIC_MEM
		   	   	   	   	 &lcd1,
#endif
		   	   	   	   	 240,
						 320,
						 ILI9341_CONTROLLER_WIDTH,
						 ILI9341_CONTROLLER_HEIGHT,
						 0,
						 0,
						 PAGE_ORIENTATION_PORTRAIT_MIRROR,
						 ILI9341_Init,
						 ILI9341_SetWindow,
						 ILI9341_SleepIn,
						 ILI9341_SleepOut,
						 &spi_con,
						 LCD_DATA_16BIT_BUS,
						 bkl_data				   );

  LCD_Handler *lcd = LCD; //Указатель на первый дисплей в списке
  LCD_Init(lcd);
  LCD_Fill(lcd, COLOR_WHITE);

  (void)max_memory();
  /* --------------------------------------------------------------------------------------------------*/

  /* ------------------------------------ Запускаем "звуковую карту" ----------------------------------*/
  //Инициализируем I2S на базе SPI3 для работы с аудио ЦАП PCM5102
  I2S3_Init();
  //Выделяем память для выходного PCM буфера
  mix_buffer = (uint32_t*)calloc(3 * MP3_SAMPLES, sizeof(uint32_t));
  //Стартуем i2s кодек PCM51202 на частоте 44100 в формате 16-битных сэмплов
  Start_DAC_DMA(SPI3, DMA1, 5, 44100, LL_I2S_DATAFORMAT_16B_EXTENDED, mix_buffer, 2 * MP3_SAMPLES);
  /* --------------------------------------------------------------------------------------------------*/

  /* ----------------------------------- Настройка тачскрина ------------------------------------------*/
  XPT2046_ConnectionData cnt_touch = { .spi 	 = SPI1,				//Используемый spi
		  	  	  	  	  	  	  	   .speed 	 = 4,					//Скорость spi 0...7 (0 - clk/2, 1 - clk/4, ..., 7 - clk/256)
									   .cs_port  = T_CS_GPIO_Port,		//Порт для управления T_CS
									   .cs_pin 	 = T_CS_Pin,			//Вывод порта для управления T_CS
									   .irq_port = T_IRQ_GPIO_Port,		//Порт для управления T_IRQ
									   .irq_pin  = T_IRQ_Pin,			//Вывод порта для управления T_IRQ
									   .exti_irq = T_IRQ_EXTI_IRQn };   //Канал внешнего прерывания

  //Инициализация обработчика тачскрина
  XPT2046_Handler touch1;
  XPT2046_InitTouch(&touch1, 20, &cnt_touch);
  //Калибровка тачскрина
  (void)XPT2046_CalibrateTouch(&touch1, lcd);
  /*------------------------------------------------------------------------------------------------------*/

  //Демо игра "Крестики-нолики"
  TicTacToe_DemoGame(lcd, &touch1);
  /* USER CODE END 2 */

  /* Infinite loop */
  while (1)
  {

  }
}

void SystemClock_Config(void)
{
  LL_FLASH_SetLatency(LL_FLASH_LATENCY_2);
  while(LL_FLASH_GetLatency()!= LL_FLASH_LATENCY_2)
  {
  }
  LL_PWR_SetRegulVoltageScaling(LL_PWR_REGU_VOLTAGE_SCALE2);
  LL_RCC_HSE_Enable();

   /* Wait till HSE is ready */
  while(LL_RCC_HSE_IsReady() != 1)
  {

  }
  LL_RCC_HSE_EnableCSS();
  LL_RCC_PLL_ConfigDomain_SYS(LL_RCC_PLLSOURCE_HSE, LL_RCC_PLLM_DIV_25, 168, LL_RCC_PLLP_DIV_2);
  LL_RCC_PLL_Enable();

   /* Wait till PLL is ready */
  while(LL_RCC_PLL_IsReady() != 1)
  {

  }
  LL_RCC_SetAHBPrescaler(LL_RCC_SYSCLK_DIV_1);
  LL_RCC_SetAPB1Prescaler(LL_RCC_APB1_DIV_2);
  LL_RCC_SetAPB2Prescaler(LL_RCC_APB2_DIV_1);
  LL_RCC_SetSysClkSource(LL_RCC_SYS_CLKSOURCE_PLL);

   /* Wait till System clock is ready */
  while(LL_RCC_GetSysClkSource() != LL_RCC_SYS_CLKSOURCE_STATUS_PLL)
  {

  }
  LL_Init1msTick(84000000);
  LL_SetSystemCoreClock(84000000);
  LL_RCC_SetTIMPrescaler(LL_RCC_TIM_PRESCALER_TWICE);
}

static void MX_SPI1_Init(void)
{

  LL_SPI_InitTypeDef SPI_InitStruct = {0};

  LL_GPIO_InitTypeDef GPIO_InitStruct = {0};

  /* Peripheral clock enable */
  LL_APB2_GRP1_EnableClock(LL_APB2_GRP1_PERIPH_SPI1);

  LL_AHB1_GRP1_EnableClock(LL_AHB1_GRP1_PERIPH_GPIOA);
  LL_AHB1_GRP1_EnableClock(LL_AHB1_GRP1_PERIPH_GPIOB);
  /**SPI1 GPIO Configuration
  PA5   ------> SPI1_SCK
  PA7   ------> SPI1_MOSI
  PB4   ------> SPI1_MISO
  */
  GPIO_InitStruct.Pin = LCD_SCK_Pin|LCD_SDI_Pin;
  GPIO_InitStruct.Mode = LL_GPIO_MODE_ALTERNATE;
  GPIO_InitStruct.Speed = LL_GPIO_SPEED_FREQ_VERY_HIGH;
  GPIO_InitStruct.OutputType = LL_GPIO_OUTPUT_PUSHPULL;
  GPIO_InitStruct.Pull = LL_GPIO_PULL_NO;
  GPIO_InitStruct.Alternate = LL_GPIO_AF_5;
  LL_GPIO_Init(GPIOA, &GPIO_InitStruct);

  GPIO_InitStruct.Pin = T_OUT_Pin;
  GPIO_InitStruct.Mode = LL_GPIO_MODE_ALTERNATE;
  GPIO_InitStruct.Speed = LL_GPIO_SPEED_FREQ_VERY_HIGH;
  GPIO_InitStruct.OutputType = LL_GPIO_OUTPUT_PUSHPULL;
  GPIO_InitStruct.Pull = LL_GPIO_PULL_NO;
  GPIO_InitStruct.Alternate = LL_GPIO_AF_5;
  LL_GPIO_Init(T_OUT_GPIO_Port, &GPIO_InitStruct);

  /* SPI1 DMA Init */

  /* SPI1_TX Init */
  LL_DMA_SetChannelSelection(DMA2, LL_DMA_STREAM_3, LL_DMA_CHANNEL_3);

  LL_DMA_SetDataTransferDirection(DMA2, LL_DMA_STREAM_3, LL_DMA_DIRECTION_MEMORY_TO_PERIPH);

  LL_DMA_SetStreamPriorityLevel(DMA2, LL_DMA_STREAM_3, LL_DMA_PRIORITY_LOW);

  LL_DMA_SetMode(DMA2, LL_DMA_STREAM_3, LL_DMA_MODE_NORMAL);

  LL_DMA_SetPeriphIncMode(DMA2, LL_DMA_STREAM_3, LL_DMA_PERIPH_NOINCREMENT);

  LL_DMA_SetMemoryIncMode(DMA2, LL_DMA_STREAM_3, LL_DMA_MEMORY_INCREMENT);

  LL_DMA_SetPeriphSize(DMA2, LL_DMA_STREAM_3, LL_DMA_PDATAALIGN_HALFWORD);

  LL_DMA_SetMemorySize(DMA2, LL_DMA_STREAM_3, LL_DMA_MDATAALIGN_HALFWORD);

  LL_DMA_DisableFifoMode(DMA2, LL_DMA_STREAM_3);

  /* SPI1 parameter configuration*/
  SPI_InitStruct.TransferDirection = LL_SPI_FULL_DUPLEX;
  SPI_InitStruct.Mode = LL_SPI_MODE_MASTER;
  SPI_InitStruct.DataWidth = LL_SPI_DATAWIDTH_16BIT;
  SPI_InitStruct.ClockPolarity = LL_SPI_POLARITY_LOW;
  SPI_InitStruct.ClockPhase = LL_SPI_PHASE_1EDGE;
  SPI_InitStruct.NSS = LL_SPI_NSS_SOFT;
  SPI_InitStruct.BaudRate = LL_SPI_BAUDRATEPRESCALER_DIV2;
  SPI_InitStruct.BitOrder = LL_SPI_MSB_FIRST;
  SPI_InitStruct.CRCCalculation = LL_SPI_CRCCALCULATION_DISABLE;
  SPI_InitStruct.CRCPoly = 10;
  LL_SPI_Init(SPI1, &SPI_InitStruct);
  LL_SPI_SetStandard(SPI1, LL_SPI_PROTOCOL_MOTOROLA);

}

static void MX_TIM3_Init(void)
{

  LL_TIM_InitTypeDef TIM_InitStruct = {0};
  LL_TIM_OC_InitTypeDef TIM_OC_InitStruct = {0};

  LL_GPIO_InitTypeDef GPIO_InitStruct = {0};

  /* Peripheral clock enable */
  LL_APB1_GRP1_EnableClock(LL_APB1_GRP1_PERIPH_TIM3);

  TIM_InitStruct.Prescaler = 999;
  TIM_InitStruct.CounterMode = LL_TIM_COUNTERMODE_UP;
  TIM_InitStruct.Autoreload = 209;
  TIM_InitStruct.ClockDivision = LL_TIM_CLOCKDIVISION_DIV1;
  LL_TIM_Init(TIM3, &TIM_InitStruct);
  LL_TIM_DisableARRPreload(TIM3);
  LL_TIM_OC_EnablePreload(TIM3, LL_TIM_CHANNEL_CH1);
  TIM_OC_InitStruct.OCMode = LL_TIM_OCMODE_PWM1;
  TIM_OC_InitStruct.OCState = LL_TIM_OCSTATE_DISABLE;
  TIM_OC_InitStruct.OCNState = LL_TIM_OCSTATE_DISABLE;
  TIM_OC_InitStruct.CompareValue = 104;
  TIM_OC_InitStruct.OCPolarity = LL_TIM_OCPOLARITY_HIGH;
  LL_TIM_OC_Init(TIM3, LL_TIM_CHANNEL_CH1, &TIM_OC_InitStruct);
  LL_TIM_OC_DisableFast(TIM3, LL_TIM_CHANNEL_CH1);
  LL_TIM_SetTriggerOutput(TIM3, LL_TIM_TRGO_RESET);
  LL_TIM_DisableMasterSlaveMode(TIM3);
  LL_AHB1_GRP1_EnableClock(LL_AHB1_GRP1_PERIPH_GPIOA);
  /**TIM3 GPIO Configuration
  PA6   ------> TIM3_CH1
  */
  GPIO_InitStruct.Pin = LCD_LED_Pin;
  GPIO_InitStruct.Mode = LL_GPIO_MODE_ALTERNATE;
  GPIO_InitStruct.Speed = LL_GPIO_SPEED_FREQ_LOW;
  GPIO_InitStruct.OutputType = LL_GPIO_OUTPUT_PUSHPULL;
  GPIO_InitStruct.Pull = LL_GPIO_PULL_NO;
  GPIO_InitStruct.Alternate = LL_GPIO_AF_2;
  LL_GPIO_Init(LCD_LED_GPIO_Port, &GPIO_InitStruct);

}

static void MX_DMA_Init(void)
{

  /* Init with LL driver */
  /* DMA controller clock enable */
  LL_AHB1_GRP1_EnableClock(LL_AHB1_GRP1_PERIPH_DMA2);

  /* DMA interrupt init */
  /* DMA2_Stream3_IRQn interrupt configuration */
  NVIC_SetPriority(DMA2_Stream3_IRQn, NVIC_EncodePriority(NVIC_GetPriorityGrouping(),3, 0));
  NVIC_EnableIRQ(DMA2_Stream3_IRQn);

}

static void MX_GPIO_Init(void)
{
  LL_EXTI_InitTypeDef EXTI_InitStruct = {0};
  LL_GPIO_InitTypeDef GPIO_InitStruct = {0};

  /* GPIO Ports Clock Enable */
  LL_AHB1_GRP1_EnableClock(LL_AHB1_GRP1_PERIPH_GPIOH);
  LL_AHB1_GRP1_EnableClock(LL_AHB1_GRP1_PERIPH_GPIOA);
  LL_AHB1_GRP1_EnableClock(LL_AHB1_GRP1_PERIPH_GPIOB);

  /**/
  LL_GPIO_SetOutputPin(GPIOA, LCD_DC_Pin|LCD_RESET_Pin|LCD_CS_Pin);

  /**/
  LL_GPIO_SetOutputPin(T_CS_GPIO_Port, T_CS_Pin);

  /**/
  GPIO_InitStruct.Pin = LCD_DC_Pin|LCD_RESET_Pin;
  GPIO_InitStruct.Mode = LL_GPIO_MODE_OUTPUT;
  GPIO_InitStruct.Speed = LL_GPIO_SPEED_FREQ_HIGH;
  GPIO_InitStruct.OutputType = LL_GPIO_OUTPUT_PUSHPULL;
  GPIO_InitStruct.Pull = LL_GPIO_PULL_NO;
  LL_GPIO_Init(GPIOA, &GPIO_InitStruct);

  /**/
  GPIO_InitStruct.Pin = LCD_CS_Pin;
  GPIO_InitStruct.Mode = LL_GPIO_MODE_OUTPUT;
  GPIO_InitStruct.Speed = LL_GPIO_SPEED_FREQ_HIGH;
  GPIO_InitStruct.OutputType = LL_GPIO_OUTPUT_PUSHPULL;
  GPIO_InitStruct.Pull = LL_GPIO_PULL_UP;
  LL_GPIO_Init(LCD_CS_GPIO_Port, &GPIO_InitStruct);

  /**/
  GPIO_InitStruct.Pin = T_CS_Pin;
  GPIO_InitStruct.Mode = LL_GPIO_MODE_OUTPUT;
  GPIO_InitStruct.Speed = LL_GPIO_SPEED_FREQ_HIGH;
  GPIO_InitStruct.OutputType = LL_GPIO_OUTPUT_PUSHPULL;
  GPIO_InitStruct.Pull = LL_GPIO_PULL_UP;
  LL_GPIO_Init(T_CS_GPIO_Port, &GPIO_InitStruct);

  /**/
  LL_SYSCFG_SetEXTISource(LL_SYSCFG_EXTI_PORTB, LL_SYSCFG_EXTI_LINE0);

  /**/
  EXTI_InitStruct.Line_0_31 = LL_EXTI_LINE_0;
  EXTI_InitStruct.LineCommand = ENABLE;
  EXTI_InitStruct.Mode = LL_EXTI_MODE_IT;
  EXTI_InitStruct.Trigger = LL_EXTI_TRIGGER_FALLING;
  LL_EXTI_Init(&EXTI_InitStruct);

  /**/
  LL_GPIO_SetPinPull(T_IRQ_GPIO_Port, T_IRQ_Pin, LL_GPIO_PULL_UP);

  /**/
  LL_GPIO_SetPinMode(T_IRQ_GPIO_Port, T_IRQ_Pin, LL_GPIO_MODE_INPUT);

  /* EXTI interrupt init*/
  NVIC_SetPriority(EXTI0_IRQn, NVIC_EncodePriority(NVIC_GetPriorityGrouping(),4, 0));
  NVIC_EnableIRQ(EXTI0_IRQn);

}

void Error_Handler(void)
{
  __disable_irq();
  while (1)
  {
  }
}
